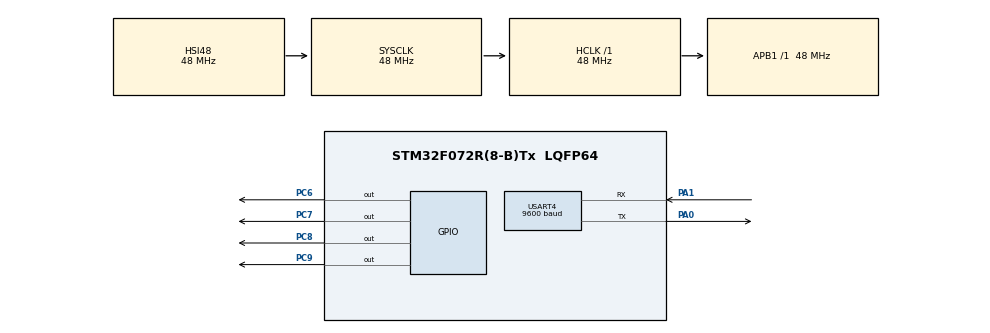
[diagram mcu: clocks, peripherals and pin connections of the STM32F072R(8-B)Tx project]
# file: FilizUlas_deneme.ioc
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Mcu.Family=STM32F0
Mcu.Name=STM32F072R(8-B)Tx
Mcu.Package=LQFP64
NVIC.USART3_4_IRQn=true\:0\:0\:false\:false\:true\:true\:true
PA0.Mode=Asynchronous
PA0.Signal=USART4_TX
PA1.Mode=Asynchronous
PA1.Signal=USART4_RX
PC6.Signal=GPIO_Output
PC7.Signal=GPIO_Output
PC8.Signal=GPIO_Output
PC9.Signal=GPIO_Output
PF0-OSC_IN.Mode=HSE-External-Oscillator
PF0-OSC_IN.Signal=RCC_OSC_IN
PF1-OSC_OUT.Mode=HSE-External-Oscillator
PF1-OSC_OUT.Signal=RCC_OSC_OUT
ProjectManager.HeapSize=0x200
ProjectManager.StackSize=0x400
ProjectManager.TargetToolchain=MDK-ARM V5.32
RCC.AHBFreq_Value=48000000
RCC.APB1Freq_Value=48000000
RCC.APB1TimFreq_Value=48000000
RCC.HCLKFreq_Value=48000000
RCC.PLLSourceVirtual=RCC_PLLSOURCE_HSE
RCC.SYSCLKFreq_VALUE=48000000
RCC.SYSCLKSource=RCC_SYSCLKSOURCE_HSI48
USART4.BaudRate=9600
USART4.VirtualMode-Asynchronous=VM_ASYNC
USART4.WordLength=WORDLENGTH_8B
board=custom

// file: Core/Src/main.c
/* USER CODE BEGIN Header */
/**
  ******************************************************************************
  * @file           : main.c
  * @brief          : Main program body
  ******************************************************************************
  * @attention
  *
  * <h2><center>&copy; Copyright (c) 2021 STMicroelectronics.
  * All rights reserved.</center></h2>
  *
  * This software component is licensed by ST under BSD 3-Clause license,
  * the "License"; You may not use this file except in compliance with the
  * License. You may obtain a copy of the License at:
  *                        opensource.org/licenses/BSD-3-Clause
  *
  ******************************************************************************
  */
/* USER CODE END Header */
#include "main.h"

UART_HandleTypeDef huart4;

void SystemClock_Config(void);
static void MX_GPIO_Init(void);
static void MX_USART4_UART_Init(void);

/* USER CODE BEGIN 0 */

	uint8_t rx_buff;

/* USER CODE END 0 */

int main(void)
{

  /* MCU Configuration--------------------------------------------------------*/

  /* Reset of all peripherals, Initializes the Flash interface and the Systick. */
  HAL_Init();

  /* Configure the system clock */
  SystemClock_Config();

  /* Initialize all configured peripherals */
  MX_GPIO_Init();
  MX_USART4_UART_Init();

  /* Infinite loop */
  while (1)
  {

    /* USER CODE BEGIN 3 */

	HAL_UART_Receive_IT(&huart4, &rx_buff, 1);
	if(rx_buff == 0x31){
			HAL_GPIO_TogglePin(GPIOC,GPIO_PIN_6);
	 		rx_buff = 0x00;
	 }
	else if(rx_buff == 0x32){
	 		HAL_GPIO_TogglePin(GPIOC,GPIO_PIN_7);
			rx_buff = 0x00;

	 	 }
	else if(rx_buff == 0x33){
	 		HAL_GPIO_TogglePin(GPIOC,GPIO_PIN_8);
			rx_buff = 0x00;

	 	 }
	else if(rx_buff == 0x34){
			HAL_GPIO_TogglePin(GPIOC,GPIO_PIN_9);
			rx_buff = 0x00;
	}

  }
  /* USER CODE END 3 */
}

void SystemClock_Config(void)
{
  RCC_OscInitTypeDef RCC_OscInitStruct = {0};
  RCC_ClkInitTypeDef RCC_ClkInitStruct = {0};

  /** Initializes the RCC Oscillators according to the specified parameters
  * in the RCC_OscInitTypeDef structure.
  */
  RCC_OscInitStruct.OscillatorType = RCC_OSCILLATORTYPE_HSI48;
  RCC_OscInitStruct.HSI48State = RCC_HSI48_ON;
  RCC_OscInitStruct.PLL.PLLState = RCC_PLL_NONE;
  if (HAL_RCC_OscConfig(&RCC_OscInitStruct) != HAL_OK)
  {
    Error_Handler();
  }
  /** Initializes the CPU, AHB and APB buses clocks
  */
  RCC_ClkInitStruct.ClockType = RCC_CLOCKTYPE_HCLK|RCC_CLOCKTYPE_SYSCLK
                              |RCC_CLOCKTYPE_PCLK1;
  RCC_ClkInitStruct.SYSCLKSource = RCC_SYSCLKSOURCE_HSI48;
  RCC_ClkInitStruct.AHBCLKDivider = RCC_SYSCLK_DIV1;
  RCC_ClkInitStruct.APB1CLKDivider = RCC_HCLK_DIV1;

  if (HAL_RCC_ClockConfig(&RCC_ClkInitStruct, FLASH_LATENCY_1) != HAL_OK)
  {
    Error_Handler();
  }
}

static void MX_USART4_UART_Init(void)
{

  huart4.Instance = USART4;
  huart4.Init.BaudRate = 9600;
  huart4.Init.WordLength = UART_WORDLENGTH_8B;
  huart4.Init.StopBits = UART_STOPBITS_1;
  huart4.Init.Parity = UART_PARITY_NONE;
  huart4.Init.Mode = UART_MODE_TX_RX;
  huart4.Init.HwFlowCtl = UART_HWCONTROL_NONE;
  huart4.Init.OverSampling = UART_OVERSAMPLING_16;
  huart4.Init.OneBitSampling = UART_ONE_BIT_SAMPLE_DISABLE;
  huart4.AdvancedInit.AdvFeatureInit = UART_ADVFEATURE_NO_INIT;
  if (HAL_UART_Init(&huart4) != HAL_OK)
  {
    Error_Handler();
  }

}

static void MX_GPIO_Init(void)
{
  GPIO_InitTypeDef GPIO_InitStruct = {0};

  /* GPIO Ports Clock Enable */
  __HAL_RCC_GPIOF_CLK_ENABLE();
  __HAL_RCC_GPIOA_CLK_ENABLE();
  __HAL_RCC_GPIOC_CLK_ENABLE();

  /*Configure GPIO pin Output Level */
  HAL_GPIO_WritePin(GPIOC, GPIO_PIN_6|GPIO_PIN_7|GPIO_PIN_8|GPIO_PIN_9, GPIO_PIN_RESET);

  /*Configure GPIO pins : PC6 PC7 PC8 PC9 */
  GPIO_InitStruct.Pin = GPIO_PIN_6|GPIO_PIN_7|GPIO_PIN_8|GPIO_PIN_9;
  GPIO_InitStruct.Mode = GPIO_MODE_OUTPUT_PP;
  GPIO_InitStruct.Pull = GPIO_NOPULL;
  GPIO_InitStruct.Speed = GPIO_SPEED_FREQ_LOW;
  HAL_GPIO_Init(GPIOC, &GPIO_InitStruct);

}

/* USER CODE BEGIN 4 */
void HAL_UART_RxCpltCallback(UART_HandleTypeDef *huart){
	HAL_UART_Receive_IT(&huart4, &rx_buff, 1);
}
void HAL_UART_TxCpltCallback(UART_HandleTypeDef *huart){

}
/* USER CODE END 4 */

void Error_Handler(void)
{
  __disable_irq();
  while (1)
  {
  }
}

/************************ (C) COPYRIGHT STMicroelectronics *****END OF FILE****/
